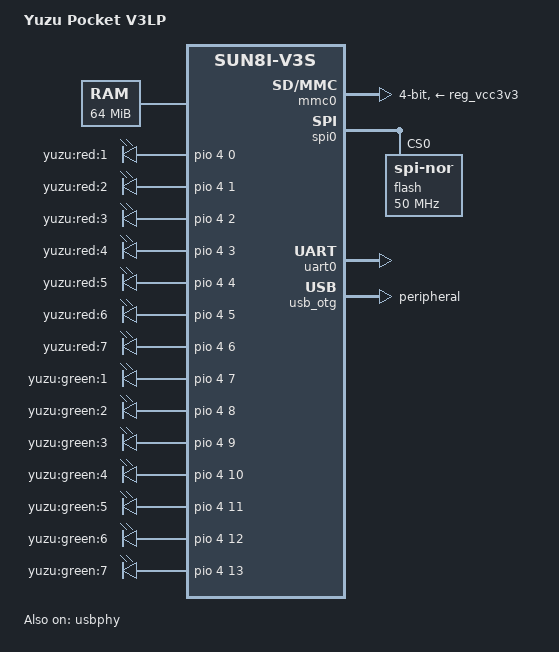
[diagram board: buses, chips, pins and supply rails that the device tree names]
// SPDX-License-Identifier: (GPL-2.0+ OR MIT)
/*
 * Yuzu Pocket business-card Linux board.
 *
 * V3LP is treated as V3s-compatible for this first firmware target.
 * Confirmed board differences from Lichee Pi Zero are captured here.
 */

/dts-v1/;
#include "sun8i-v3s.dtsi"
#include "sunxi-common-regulators.dtsi"
#include <dt-bindings/gpio/gpio.h>

/ {
	model = "Yuzu Pocket V3LP";
	compatible = "yuzu,yuzu-pocket-v3lp", "allwinner,sun8i-v3s";

	aliases {
		serial0 = &uart0;
		mmc0 = &mmc0;
		spi0 = &spi0;
	};

	chosen {
		stdout-path = "serial0:115200n8";
		bootargs = "console=ttyS0,115200 earlycon root=/dev/mmcblk0p2 rootwait rw panic=5";
	};

	memory@40000000 {
		device_type = "memory";
		reg = <0x40000000 0x04000000>;
	};

	leds {
		compatible = "gpio-leds";

		red1 {
			label = "yuzu:red:1";
			gpios = <&pio 4 0 GPIO_ACTIVE_HIGH>; /* PE0 */
		};

		red2 {
			label = "yuzu:red:2";
			gpios = <&pio 4 1 GPIO_ACTIVE_HIGH>; /* PE1 */
		};

		red3 {
			label = "yuzu:red:3";
			gpios = <&pio 4 2 GPIO_ACTIVE_HIGH>; /* PE2 */
		};

		red4 {
			label = "yuzu:red:4";
			gpios = <&pio 4 3 GPIO_ACTIVE_HIGH>; /* PE3 */
		};

		red5 {
			label = "yuzu:red:5";
			gpios = <&pio 4 4 GPIO_ACTIVE_HIGH>; /* PE4 */
		};

		red6 {
			label = "yuzu:red:6";
			gpios = <&pio 4 5 GPIO_ACTIVE_HIGH>; /* PE5 */
		};

		red7 {
			label = "yuzu:red:7";
			gpios = <&pio 4 6 GPIO_ACTIVE_HIGH>; /* PE6 */
		};

		green1 {
			label = "yuzu:green:1";
			gpios = <&pio 4 7 GPIO_ACTIVE_HIGH>; /* PE7 */
		};

		green2 {
			label = "yuzu:green:2";
			gpios = <&pio 4 8 GPIO_ACTIVE_HIGH>; /* PE8 */
		};

		green3 {
			label = "yuzu:green:3";
			gpios = <&pio 4 9 GPIO_ACTIVE_HIGH>; /* PE9 */
		};

		green4 {
			label = "yuzu:green:4";
			gpios = <&pio 4 10 GPIO_ACTIVE_HIGH>; /* PE10 */
		};

		green5 {
			label = "yuzu:green:5";
			gpios = <&pio 4 11 GPIO_ACTIVE_HIGH>; /* PE11 */
		};

		green6 {
			label = "yuzu:green:6";
			gpios = <&pio 4 12 GPIO_ACTIVE_HIGH>; /* PE12 */
		};

		green7 {
			label = "yuzu:green:7";
			gpios = <&pio 4 13 GPIO_ACTIVE_HIGH>; /* PE13 */
		};
	};
};

&mmc0 {
	broken-cd;
	bus-width = <4>;
	vmmc-supply = <&reg_vcc3v3>;
	status = "okay";
};

&spi0 {
	pinctrl-0 = <&spi0_pins>;
	pinctrl-names = "default";
	status = "okay";

	flash@0 {
		compatible = "jedec,spi-nor";
		reg = <0>;
		spi-max-frequency = <50000000>;
	};
};

&uart0 {
	pinctrl-0 = <&uart0_pb_pins>;
	pinctrl-names = "default";
	status = "okay";
};

&usb_otg {
	dr_mode = "peripheral";
	status = "okay";
};

&usbphy {
	status = "okay";
};

